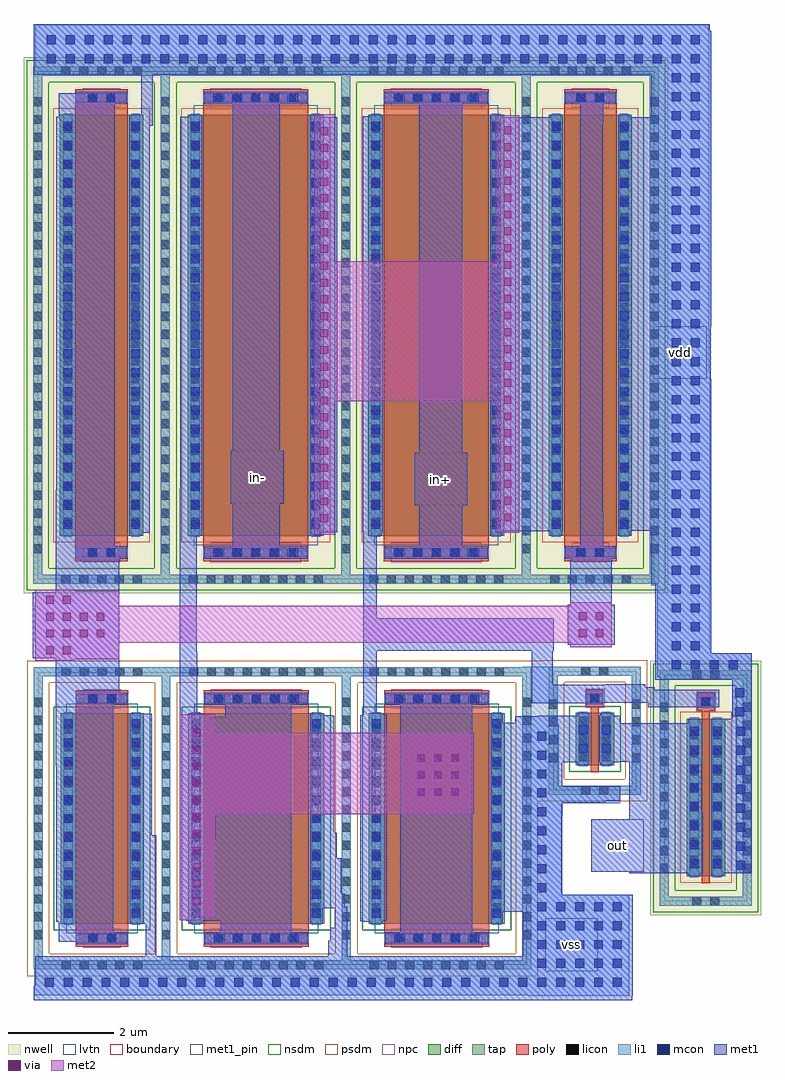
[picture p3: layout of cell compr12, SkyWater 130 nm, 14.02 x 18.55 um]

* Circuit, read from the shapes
.subckt compr12 in+ in- out vdd vss
XM1 vss n1 n1 vss sky130_fd_pr__nfet_01v8_lvt w=4 l=1
XM2 vss n2 n2 vss sky130_fd_pr__nfet_01v8_lvt w=4 l=2
XM3 vss n2 n3 vss sky130_fd_pr__nfet_01v8_lvt w=4 l=2
XM4 out n3 vss vss sky130_fd_pr__nfet_01v8 w=1 l=0.15
XM5 vdd n1 n1 vdd sky130_fd_pr__pfet_01v8 w=8 l=1
XM6 n4 in- n2 vdd sky130_fd_pr__pfet_01v8_lvt w=8 l=2
XM7 n4 in+ n3 vdd sky130_fd_pr__pfet_01v8_lvt w=8 l=2
XM8 vdd n1 n4 vdd sky130_fd_pr__pfet_01v8 w=8 l=1
XM9 vdd n3 out vdd sky130_fd_pr__pfet_01v8 w=3 l=0.15
.ends

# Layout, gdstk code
import gdstk
lib = gdstk.Library(unit=1e-6, precision=1e-09)
def R(c, l, rs):  # rectangles x0, y0, x1, y1
    for r in rs: c.add(gdstk.rectangle(r[:2], r[2:], *l))
def A(c, l, x, y, w, h, nx, ny, dx, dy):  # array of equal rectangles
    R(c, l, [(x+i*dx, y+j*dy, x+i*dx+w, y+j*dy+h) for i in range(nx) for j in range(ny)])
nwell = (64, 20)
diff = (65, 20)
tap = (65, 44)
poly = (66, 20)
licon = (66, 44)
li1 = (67, 20)
mcon = (67, 44)
met1_pin = (68, 16)
met1 = (68, 20)
via = (68, 44)
met2 = (69, 20)
nsdm = (93, 44)
psdm = (94, 20)
npc = (95, 20)
lvtn = (125, 44)
boundary = (235, 4)

sky130_fd_pr__nfet_01v8_ = lib.new_cell('sky130_fd_pr__nfet_01v8_64Z3AY')
R(sky130_fd_pr__nfet_01v8_, diff, [(-0.365,-0.655,0.365,0.345)])
R(sky130_fd_pr__nfet_01v8_, tap, [(-0.875,-1.215,0.875,-1.045), (-0.875,-1.045,-0.705,1.045), (0.705,-1.045,0.875,1.045), (-0.875,1.045,0.875,1.215)])
R(sky130_fd_pr__nfet_01v8_, poly, [(-0.075,-0.785,0.075,0.455), (-0.165,0.455,0.165,0.785)])
A(sky130_fd_pr__nfet_01v8_, licon, -0.875, -0.595, 0.17, 0.17, 1, 4, 0, 0.34)
A(sky130_fd_pr__nfet_01v8_, licon, 0.705, -0.595, 0.17, 0.17, 1, 4, 0, 0.34)
A(sky130_fd_pr__nfet_01v8_, licon, -0.305, -0.58, 0.17, 0.17, 1, 3, 0, 0.34)
A(sky130_fd_pr__nfet_01v8_, licon, 0.135, -0.58, 0.17, 0.17, 1, 3, 0, 0.34)
R(sky130_fd_pr__nfet_01v8_, licon, [(-0.255,-1.215,-0.085,-1.045), (0.085,-1.215,0.255,-1.045), (-0.085,0.535,0.085,0.705), (-0.255,1.045,-0.085,1.215), (0.085,1.045,0.255,1.215)])
R(sky130_fd_pr__nfet_01v8_, li1, [(-0.875,-1.215,0.875,-1.045), (-0.875,-1.045,-0.705,1.045), (0.705,-1.045,0.875,1.045), (-0.305,-0.675,-0.135,0.365), (0.135,-0.675,0.305,0.365), (-0.165,0.535,0.165,0.705), (-0.875,1.045,0.875,1.215)])
R(sky130_fd_pr__nfet_01v8_, mcon, [(-0.305,-0.42,-0.135,-0.25), (0.135,-0.42,0.305,-0.25), (-0.305,-0.06,-0.135,0.11), (0.135,-0.06,0.305,0.11), (-0.085,0.535,0.085,0.705)])
R(sky130_fd_pr__nfet_01v8_, met1, [(-0.335,-0.655,-0.105,0.345), (0.105,-0.655,0.335,0.345), (-0.145,0.505,0.145,0.735)])
R(sky130_fd_pr__nfet_01v8_, nsdm, [(-0.49,-0.78,0.49,0.47)])
R(sky130_fd_pr__nfet_01v8_, psdm, [(-1,-1.34,1,-0.92), (-1,-0.92,-0.58,0.92), (0.58,-0.92,1,0.92), (-1,0.92,1,1.34)])
R(sky130_fd_pr__nfet_01v8_, npc, [(-0.185,0.435,0.185,0.805)])
R(sky130_fd_pr__nfet_01v8_, boundary, [(-0.79,-1.13,0.79,1.13)])

c_sky130_fd_pr__nfet_01v8_ = lib.new_cell('sky130_fd_pr__nfet_01v8_lvt_AHMAL2')
R(c_sky130_fd_pr__nfet_01v8_, diff, [(-0.79,-2,0.79,2)])
R(c_sky130_fd_pr__nfet_01v8_, tap, [(-1.3,-2.87,1.3,-2.7), (-1.3,-2.7,-1.13,2.7), (1.13,-2.7,1.3,2.7), (-1.3,2.7,1.3,2.87)])
R(c_sky130_fd_pr__nfet_01v8_, poly, [(-0.5,-2.44,0.5,2.44)])
A(c_sky130_fd_pr__nfet_01v8_, licon, -0.765, -2.87, 0.17, 0.17, 5, 2, 0.34, 5.57)
A(c_sky130_fd_pr__nfet_01v8_, licon, -1.3, -2.295, 0.17, 0.17, 1, 14, 0, 0.34)
A(c_sky130_fd_pr__nfet_01v8_, licon, 1.13, -2.295, 0.17, 0.17, 1, 14, 0, 0.34)
A(c_sky130_fd_pr__nfet_01v8_, licon, -0.73, -1.785, 0.17, 0.17, 1, 11, 0, 0.34)
A(c_sky130_fd_pr__nfet_01v8_, licon, 0.56, -1.785, 0.17, 0.17, 1, 11, 0, 0.34)
R(c_sky130_fd_pr__nfet_01v8_, licon, [(-0.255,-2.36,-0.085,-2.19), (0.085,-2.36,0.255,-2.19), (-0.255,2.19,-0.085,2.36), (0.085,2.19,0.255,2.36)])
R(c_sky130_fd_pr__nfet_01v8_, li1, [(-1.3,-2.87,1.3,-2.7), (-1.3,-2.7,-1.13,2.7), (1.13,-2.7,1.3,2.7), (-0.5,-2.36,0.5,-2.19), (-0.73,-2.02,-0.56,2.02), (0.56,-2.02,0.73,2.02), (-0.5,2.19,0.5,2.36), (-1.3,2.7,1.3,2.87)])
A(c_sky130_fd_pr__nfet_01v8_, mcon, -0.73, -1.885, 0.17, 0.17, 1, 11, 0, 0.36)
A(c_sky130_fd_pr__nfet_01v8_, mcon, 0.56, -1.885, 0.17, 0.17, 1, 11, 0, 0.36)
R(c_sky130_fd_pr__nfet_01v8_, mcon, [(-0.265,-2.36,-0.095,-2.19), (0.095,-2.36,0.265,-2.19), (-0.265,2.19,-0.095,2.36), (0.095,2.19,0.265,2.36)])
R(c_sky130_fd_pr__nfet_01v8_, met1, [(-0.48,-2.39,0.48,-2.16), (-0.76,-2,-0.53,2), (0.53,-2,0.76,2), (-0.48,2.16,0.48,2.39)])
R(c_sky130_fd_pr__nfet_01v8_, nsdm, [(-0.915,-2.125,0.915,2.125)])
R(c_sky130_fd_pr__nfet_01v8_, psdm, [(-1.425,-2.995,1.425,-2.575), (-1.425,-2.575,-1.005,2.575), (1.005,-2.575,1.425,2.575), (-1.425,2.575,1.425,2.995)])
R(c_sky130_fd_pr__nfet_01v8_, npc, [(-0.355,-2.46,0.355,-2.09), (-0.355,2.09,0.355,2.46)])
R(c_sky130_fd_pr__nfet_01v8_, lvtn, [(-0.68,-2.18,0.68,2.18)])
R(c_sky130_fd_pr__nfet_01v8_, boundary, [(-1.21,-2.78,1.21,2.78)])

c_sky130_fd_pr__nfet_01v8__ = lib.new_cell('sky130_fd_pr__nfet_01v8_lvt_AHRV9L')
R(c_sky130_fd_pr__nfet_01v8__, diff, [(-1.29,-2,1.29,2)])
R(c_sky130_fd_pr__nfet_01v8__, tap, [(-1.8,-2.87,1.8,-2.7), (-1.8,-2.7,-1.63,2.7), (1.63,-2.7,1.8,2.7), (-1.8,2.7,1.8,2.87)])
R(c_sky130_fd_pr__nfet_01v8__, poly, [(-1,-2.44,1,2.44)])
A(c_sky130_fd_pr__nfet_01v8__, licon, -1.275, -2.87, 0.17, 0.17, 8, 2, 0.34, 5.57)
A(c_sky130_fd_pr__nfet_01v8__, licon, -0.765, -2.36, 0.17, 0.17, 5, 2, 0.34, 4.55)
A(c_sky130_fd_pr__nfet_01v8__, licon, -1.8, -2.295, 0.17, 0.17, 1, 14, 0, 0.34)
A(c_sky130_fd_pr__nfet_01v8__, licon, 1.63, -2.295, 0.17, 0.17, 1, 14, 0, 0.34)
A(c_sky130_fd_pr__nfet_01v8__, licon, -1.23, -1.785, 0.17, 0.17, 1, 11, 0, 0.34)
A(c_sky130_fd_pr__nfet_01v8__, licon, 1.06, -1.785, 0.17, 0.17, 1, 11, 0, 0.34)
R(c_sky130_fd_pr__nfet_01v8__, li1, [(-1.8,-2.87,1.8,-2.7), (-1.8,-2.7,-1.63,2.7), (1.63,-2.7,1.8,2.7), (-1,-2.36,1,-2.19), (-1.23,-2.02,-1.06,2.02), (1.06,-2.02,1.23,2.02), (-1,2.19,1,2.36), (-1.8,2.7,1.8,2.87)])
A(c_sky130_fd_pr__nfet_01v8__, mcon, -0.805, -2.36, 0.17, 0.17, 5, 2, 0.36, 4.55)
A(c_sky130_fd_pr__nfet_01v8__, mcon, -1.23, -1.885, 0.17, 0.17, 1, 11, 0, 0.36)
A(c_sky130_fd_pr__nfet_01v8__, mcon, 1.06, -1.885, 0.17, 0.17, 1, 11, 0, 0.36)
R(c_sky130_fd_pr__nfet_01v8__, met1, [(-0.98,-2.39,0.98,-2.16), (-1.26,-2,-1.03,2), (1.03,-2,1.26,2), (-0.98,2.16,0.98,2.39)])
R(c_sky130_fd_pr__nfet_01v8__, nsdm, [(-1.415,-2.125,1.415,2.125)])
R(c_sky130_fd_pr__nfet_01v8__, psdm, [(-1.925,-2.995,1.925,-2.575), (-1.925,-2.575,-1.505,2.575), (1.505,-2.575,1.925,2.575), (-1.925,2.575,1.925,2.995)])
R(c_sky130_fd_pr__nfet_01v8__, npc, [(-0.865,-2.46,0.865,-2.09), (-0.865,2.09,0.865,2.46)])
R(c_sky130_fd_pr__nfet_01v8__, lvtn, [(-1.18,-2.18,1.18,2.18)])
R(c_sky130_fd_pr__nfet_01v8__, boundary, [(-1.71,-2.78,1.71,2.78)])

sky130_fd_pr__pfet_01v8_ = lib.new_cell('sky130_fd_pr__pfet_01v8_3H2EVM')
R(sky130_fd_pr__pfet_01v8_, nwell, [(-1.48,-5.095,1.48,5.095)])
R(sky130_fd_pr__pfet_01v8_, diff, [(-0.79,-4,0.79,4)])
R(sky130_fd_pr__pfet_01v8_, tap, [(-1.3,-4.915,1.3,-4.745), (-1.3,-4.745,-1.13,4.745), (1.13,-4.745,1.3,4.745), (-1.3,4.745,1.3,4.915)])
R(sky130_fd_pr__pfet_01v8_, poly, [(-0.5,-4.485,0.5,4.485)])
A(sky130_fd_pr__pfet_01v8_, licon, -0.765, -4.915, 0.17, 0.17, 5, 2, 0.34, 9.66)
A(sky130_fd_pr__pfet_01v8_, licon, -1.3, -4.335, 0.17, 0.17, 1, 26, 0, 0.34)
A(sky130_fd_pr__pfet_01v8_, licon, 1.13, -4.335, 0.17, 0.17, 1, 26, 0, 0.34)
A(sky130_fd_pr__pfet_01v8_, licon, -0.73, -3.825, 0.17, 0.17, 1, 23, 0, 0.34)
A(sky130_fd_pr__pfet_01v8_, licon, 0.56, -3.825, 0.17, 0.17, 1, 23, 0, 0.34)
R(sky130_fd_pr__pfet_01v8_, licon, [(-0.255,-4.405,-0.085,-4.235), (0.085,-4.405,0.255,-4.235), (-0.255,4.235,-0.085,4.405), (0.085,4.235,0.255,4.405)])
R(sky130_fd_pr__pfet_01v8_, li1, [(-1.3,-4.915,1.3,-4.745), (-1.3,-4.745,-1.13,4.745), (1.13,-4.745,1.3,4.745), (-0.5,-4.405,0.5,-4.235), (-0.73,-4.02,-0.56,4.02), (0.56,-4.02,0.73,4.02), (-0.5,4.235,0.5,4.405), (-1.3,4.745,1.3,4.915)])
A(sky130_fd_pr__pfet_01v8_, mcon, -0.73, -3.865, 0.17, 0.17, 1, 22, 0, 0.36)
A(sky130_fd_pr__pfet_01v8_, mcon, 0.56, -3.865, 0.17, 0.17, 1, 22, 0, 0.36)
R(sky130_fd_pr__pfet_01v8_, mcon, [(-0.265,-4.405,-0.095,-4.235), (0.095,-4.405,0.265,-4.235), (-0.265,4.235,-0.095,4.405), (0.095,4.235,0.265,4.405)])
R(sky130_fd_pr__pfet_01v8_, met1, [(-0.48,-4.435,0.48,-4.205), (-0.76,-4,-0.53,4), (0.53,-4,0.76,4), (-0.48,4.205,0.48,4.435)])
R(sky130_fd_pr__pfet_01v8_, nsdm, [(-1.425,-5.04,1.425,-4.62), (-1.425,-4.62,-1.005,4.62), (1.005,-4.62,1.425,4.62), (-1.425,4.62,1.425,5.04)])
R(sky130_fd_pr__pfet_01v8_, psdm, [(-0.915,-4.125,0.915,4.125)])
R(sky130_fd_pr__pfet_01v8_, npc, [(-0.355,-4.505,0.355,-4.135), (-0.355,4.135,0.355,4.505)])
R(sky130_fd_pr__pfet_01v8_, boundary, [(-1.215,-4.83,1.215,4.83)])

c_sky130_fd_pr__pfet_01v8_ = lib.new_cell('sky130_fd_pr__pfet_01v8_lvt_GWPMZG')
R(c_sky130_fd_pr__pfet_01v8_, nwell, [(-1.98,-5.095,1.98,5.095)])
R(c_sky130_fd_pr__pfet_01v8_, diff, [(-1.29,-4,1.29,4)])
R(c_sky130_fd_pr__pfet_01v8_, tap, [(-1.8,-4.915,1.8,-4.745), (-1.8,-4.745,-1.63,4.745), (1.63,-4.745,1.8,4.745), (-1.8,4.745,1.8,4.915)])
R(c_sky130_fd_pr__pfet_01v8_, poly, [(-1,-4.485,1,4.485)])
A(c_sky130_fd_pr__pfet_01v8_, licon, -1.275, -4.915, 0.17, 0.17, 8, 2, 0.34, 9.66)
A(c_sky130_fd_pr__pfet_01v8_, licon, -0.765, -4.405, 0.17, 0.17, 5, 2, 0.34, 8.64)
A(c_sky130_fd_pr__pfet_01v8_, licon, -1.8, -4.335, 0.17, 0.17, 1, 26, 0, 0.34)
A(c_sky130_fd_pr__pfet_01v8_, licon, 1.63, -4.335, 0.17, 0.17, 1, 26, 0, 0.34)
A(c_sky130_fd_pr__pfet_01v8_, licon, -1.23, -3.825, 0.17, 0.17, 1, 23, 0, 0.34)
A(c_sky130_fd_pr__pfet_01v8_, licon, 1.06, -3.825, 0.17, 0.17, 1, 23, 0, 0.34)
R(c_sky130_fd_pr__pfet_01v8_, li1, [(-1.8,-4.915,1.8,-4.745), (-1.8,-4.745,-1.63,4.745), (1.63,-4.745,1.8,4.745), (-1,-4.405,1,-4.235), (-1.23,-4.02,-1.06,4.02), (1.06,-4.02,1.23,4.02), (-1,4.235,1,4.405), (-1.8,4.745,1.8,4.915)])
A(c_sky130_fd_pr__pfet_01v8_, mcon, -0.805, -4.405, 0.17, 0.17, 5, 2, 0.36, 8.64)
A(c_sky130_fd_pr__pfet_01v8_, mcon, -1.23, -3.865, 0.17, 0.17, 1, 22, 0, 0.36)
A(c_sky130_fd_pr__pfet_01v8_, mcon, 1.06, -3.865, 0.17, 0.17, 1, 22, 0, 0.36)
R(c_sky130_fd_pr__pfet_01v8_, met1, [(-0.98,-4.435,0.98,-4.205), (-1.26,-4,-1.03,4), (1.03,-4,1.26,4), (-0.98,4.205,0.98,4.435)])
R(c_sky130_fd_pr__pfet_01v8_, nsdm, [(-1.925,-5.04,1.925,-4.62), (-1.925,-4.62,-1.505,4.62), (1.505,-4.62,1.925,4.62), (-1.925,4.62,1.925,5.04)])
R(c_sky130_fd_pr__pfet_01v8_, psdm, [(-1.415,-4.125,1.415,4.125)])
R(c_sky130_fd_pr__pfet_01v8_, npc, [(-0.865,-4.505,0.865,-4.135), (-0.865,4.135,0.865,4.505)])
R(c_sky130_fd_pr__pfet_01v8_, lvtn, [(-1.18,-4.18,1.18,4.18)])
R(c_sky130_fd_pr__pfet_01v8_, boundary, [(-1.715,-4.83,1.715,4.83)])

c_sky130_fd_pr__pfet_01v8__ = lib.new_cell('sky130_fd_pr__pfet_01v8_MGSNAN')
R(c_sky130_fd_pr__pfet_01v8__, nwell, [(-1.055,-2.42,1.055,2.42)])
R(c_sky130_fd_pr__pfet_01v8__, diff, [(-0.365,-1.68,0.365,1.32)])
R(c_sky130_fd_pr__pfet_01v8__, tap, [(-0.875,-2.24,0.875,-2.07), (-0.875,-2.07,-0.705,2.07), (0.705,-2.07,0.875,2.07), (-0.875,2.07,0.875,2.24)])
R(c_sky130_fd_pr__pfet_01v8__, poly, [(-0.075,-1.81,0.075,1.475), (-0.165,1.475,0.165,1.805)])
A(c_sky130_fd_pr__pfet_01v8__, licon, -0.875, -1.615, 0.17, 0.17, 1, 10, 0, 0.34)
A(c_sky130_fd_pr__pfet_01v8__, licon, 0.705, -1.615, 0.17, 0.17, 1, 10, 0, 0.34)
A(c_sky130_fd_pr__pfet_01v8__, licon, -0.305, -1.455, 0.17, 0.17, 1, 8, 0, 0.34)
A(c_sky130_fd_pr__pfet_01v8__, licon, 0.135, -1.455, 0.17, 0.17, 1, 8, 0, 0.34)
R(c_sky130_fd_pr__pfet_01v8__, licon, [(-0.255,-2.24,-0.085,-2.07), (0.085,-2.24,0.255,-2.07), (-0.085,1.555,0.085,1.725), (-0.255,2.07,-0.085,2.24), (0.085,2.07,0.255,2.24)])
R(c_sky130_fd_pr__pfet_01v8__, li1, [(-0.875,-2.24,0.875,-2.07), (-0.875,-2.07,-0.705,2.07), (0.705,-2.07,0.875,2.07), (-0.305,-1.7,-0.135,1.34), (0.135,-1.7,0.305,1.34), (-0.165,1.555,0.165,1.725), (-0.875,2.07,0.875,2.24)])
A(c_sky130_fd_pr__pfet_01v8__, mcon, -0.305, -1.525, 0.17, 0.17, 1, 8, 0, 0.36)
A(c_sky130_fd_pr__pfet_01v8__, mcon, 0.135, -1.525, 0.17, 0.17, 1, 8, 0, 0.36)
R(c_sky130_fd_pr__pfet_01v8__, mcon, [(-0.085,1.555,0.085,1.725)])
R(c_sky130_fd_pr__pfet_01v8__, met1, [(-0.335,-1.68,-0.105,1.32), (0.105,-1.68,0.335,1.32), (-0.145,1.525,0.145,1.755)])
R(c_sky130_fd_pr__pfet_01v8__, nsdm, [(-1,-2.365,1,-1.945), (-1,-1.945,-0.58,1.945), (0.58,-1.945,1,1.945), (-1,1.945,1,2.365)])
R(c_sky130_fd_pr__pfet_01v8__, psdm, [(-0.49,-1.805,0.49,1.445)])
R(c_sky130_fd_pr__pfet_01v8__, npc, [(-0.185,1.455,0.185,1.825)])
R(c_sky130_fd_pr__pfet_01v8__, boundary, [(-0.79,-2.155,0.79,2.155)])

compr12 = lib.new_cell('compr12')
R(compr12, li1, [(15.74,-1.91,17.66,-1.9), (6.35,-1.9,17.66,-1.23), (15.67,-1.23,17.66,0.01), (15.67,0.01,16.39,1.42), (19.25,0.42,19.42,3.37), (19.68,0.42,19.99,3.39), (15.64,1.42,16.39,1.52), (15.64,1.52,16.4,1.75), (15.64,1.75,17.49,2.07), (15.64,2.07,16.32,3.26), (15.64,3.26,16.26,4.34), (19.62,3.39,19.99,4.1), (18.34,4.1,19.99,4.14), (18.19,4.14,19.99,4.6), (18.19,4.6,19.21,4.67), (18.19,4.67,19.19,5.89), (18.08,5.89,19.2,9.98), (18.08,9.98,19.18,15.6), (6.37,15.6,19.18,16.44), (6.37,16.44,19.17,16.55)])
A(compr12, mcon, 6.55, -1.74, 0.17, 0.17, 31, 1, 0.36, 0)
A(compr12, mcon, 15.91, -1.38, 0.17, 0.17, 5, 4, 0.36, 0.36)
A(compr12, mcon, 15.91, 0.06, 0.17, 0.17, 1, 9, 0, 0.36)
A(compr12, mcon, 19.695, 0.49, 0.17, 0.17, 1, 6, 0, 0.36)
A(compr12, mcon, 18.47, 4.295, 0.17, 0.17, 4, 1, 0.36, 0)
A(compr12, mcon, 18.47, 4.655, 0.17, 0.17, 1, 31, 0, 0.36)
A(compr12, mcon, 18.83, 4.655, 0.17, 0.17, 1, 31, 0, 0.36)
A(compr12, mcon, 6.59, 15.815, 0.17, 0.17, 35, 2, 0.36, 0.36)
R(compr12, mcon, [(19.69,2.67,19.86,2.84), (19.69,3.03,19.86,3.2), (19.675,3.405,19.845,3.575), (19.675,3.765,19.845,3.935)])
R(compr12, met1_pin, [(16.06,-1.44,17.06,-0.44), (16.94,0.45,17.94,1.45), (13.58,7.41,14.58,8.41), (10.09,7.45,11.09,8.45), (18.13,9.82,19.13,10.82)])
R(compr12, met1, [(6.34,-1.99,17.72,-1.91), (6.34,-1.91,17.73,-1.73), (6.37,-1.73,17.73,-1.16), (8.47,-1.16,8.67,-0.54), (11.94,-1.16,12.3,-0.86), (15.64,-1.16,17.73,-0.31), (6.82,-0.88,7.85,-0.5), (9.9,-0.88,11.24,-0.48), (13.31,-0.88,14.68,3.82), (11.98,-0.86,12.3,-0.62), (12.06,-0.62,12.3,-0.25), (8.24,-0.54,8.67,-0.51), (8.2,-0.51,8.67,1.14), (6.77,-0.5,7.85,2.45), (11.65,-0.5,11.8,-0.25), (12.61,-0.5,12.92,-0.49), (12.55,-0.49,12.95,-0.48), (9.24,-0.48,11.24,-0.47), (12.55,-0.48,13.05,3.42), (9.12,-0.47,11.24,3.39), (15.09,-0.47,15.16,-0.31), (15.09,-0.31,17.73,0.01), (11.65,-0.25,12.3,-0.23), (11.62,-0.23,12.3,-0.22), (11.62,-0.22,12.25,0.03), (15.09,0.01,16.38,1.76), (11.62,0.03,12.19,0.7), (18.83,0.41,19.06,0.42), (17.66,0.42,19.06,0.45), (19.28,0.42,19.99,0.43), (19.25,0.43,19.99,3.31), (16.94,0.45,19.06,1.45), (11.62,0.7,12.1,1.19), (8.2,1.14,8.58,3.45), (11.62,1.19,12.05,3.41), (17.66,1.45,19.06,1.58), (17.66,1.58,19.04,2.54), (15.09,1.76,17.2,1.8), (15.09,1.8,17.49,2.07), (15.09,2.07,16.39,2.53), (6.76,2.45,7.85,3.66), (15.09,2.53,16.82,3.28), (17.09,2.53,17.49,2.54), (17.09,2.54,19.05,3.27), (17.09,3.27,17.49,3.41), (15.09,3.28,15.17,3.39), (15.49,3.28,16.82,3.4), (19.37,3.31,19.99,3.36), (19.62,3.36,19.99,4.1), (9.12,3.39,9.63,3.44), (9.98,3.39,11.24,3.65), (15.92,3.4,16.82,3.41), (11.62,3.41,12.01,3.42), (12.6,3.42,13.05,3.43), (12.6,3.43,12.92,3.46), (9.12,3.44,9.45,4.62), (12.6,3.46,12.86,4.65), (18.02,3.57,19.37,3.66), (9.9,3.65,11.24,3.82), (15.81,3.65,17.12,3.66), (6.76,3.66,7.97,4.51), (15.81,3.66,19.37,3.91), (15.81,3.91,18.14,3.95), (15.81,3.95,17.96,4), (15.81,4,16.21,4.65), (17.21,4,17.96,4.01), (18.15,4.1,19.99,4.6), (6.32,4.51,7.97,5.76), (18.15,4.6,19.22,5.92), (9.12,4.62,9.44,6.92), (12.6,4.65,16.22,5.27), (16.49,4.76,17.38,5.52), (12.6,5.27,12.86,6.89), (16.54,5.52,17.33,6.62), (6.76,5.76,7.97,6.61), (18.08,5.92,19.22,6.93), (13.67,6.45,14.49,7.41), (10.12,6.46,11.02,7.44), (6.76,6.61,7.88,7.69), (16.73,6.62,17.17,7.3), (8.24,6.89,8.55,14.63), (12.59,6.89,12.97,14.81), (11.62,6.9,12.11,14.79), (9.12,6.92,9.54,7.74), (15.06,6.92,16.4,14.79), (17.5,6.93,19.22,9.81), (16.73,7.3,17.16,14.67), (13.58,7.41,14.58,8.41), (10.09,7.44,11.09,8.45), (6.77,7.69,7.88,14.8), (9.13,7.74,9.54,14.8), (13.67,8.41,14.49,15.27), (10.12,8.45,11.02,15.25), (17.5,9.81,19.21,10.81), (17.5,10.81,19.22,14.79), (8.24,14.63,8.6,14.78), (16.73,14.67,17.17,15.23), (8.38,14.78,8.6,15.6), (18.08,14.79,19.22,15.6), (6.82,14.8,7.88,15.24), (9.34,14.8,9.54,14.81), (16.75,15.23,17.17,15.26), (7.41,15.24,7.88,15.26), (6.34,15.6,19.22,16.43), (6.34,16.43,19.19,16.56)])
A(compr12, via, 9.365, -0.185, 0.15, 0.15, 1, 11, 0, 0.32)
A(compr12, via, 13.625, 1.89, 0.15, 0.15, 3, 3, 0.32, 0.32)
A(compr12, via, 6.575, 4.9, 0.15, 0.15, 4, 2, 0.32, 0.32)
A(compr12, via, 11.79, 7.09, 0.15, 0.15, 1, 24, 0, 0.32)
A(compr12, via, 15.27, 7.105, 0.15, 0.15, 1, 24, 0, 0.32)
R(compr12, via, [(6.575,4.58,6.725,4.73), (6.895,4.58,7.045,4.73), (16.7,4.905,16.85,5.055), (17.02,4.905,17.17,5.055), (16.7,5.225,16.85,5.375), (17.02,5.225,17.17,5.375), (6.575,5.54,6.725,5.69), (6.895,5.54,7.045,5.69)])
R(compr12, met2, [(9.12,-0.47,9.52,-0.44), (9.12,-0.44,9.79,1.06), (9.12,1.06,9.8,1.54), (9.12,1.54,14.7,3.09), (9.12,3.09,9.79,3.44), (6.37,4.46,7.11,4.49), (6.37,4.49,7.97,4.8), (16.54,4.71,17.33,4.8), (6.36,4.8,17.33,5.5), (6.37,5.5,7.97,5.79), (16.54,5.5,17.33,5.57), (6.37,5.79,7.11,5.81), (11.67,6.85,12.06,9.39), (15.12,6.89,15.57,9.39), (11.67,9.39,15.57,12.05), (11.67,12.05,12.06,14.84), (15.12,12.05,15.57,14.83)])
R(compr12, psdm, [(15.925,1.785,16.005,4.455)])
compr12.add(gdstk.Reference(sky130_fd_pr__nfet_01v8_, (17.005,3.125)))
compr12.add(gdstk.Reference(c_sky130_fd_pr__nfet_01v8_, (7.64,1.46)))
compr12.add(gdstk.Reference(c_sky130_fd_pr__nfet_01v8__, (10.57,1.46)))
compr12.add(gdstk.Reference(c_sky130_fd_pr__nfet_01v8__, (14,1.46)))
compr12.add(gdstk.Reference(sky130_fd_pr__pfet_01v8_, (7.63,10.835)))
compr12.add(gdstk.Reference(sky130_fd_pr__pfet_01v8_, (16.92,10.835)))
compr12.add(gdstk.Reference(c_sky130_fd_pr__pfet_01v8_, (10.56,10.835)))
compr12.add(gdstk.Reference(c_sky130_fd_pr__pfet_01v8_, (13.99,10.835)))
compr12.add(gdstk.Reference(c_sky130_fd_pr__pfet_01v8__, (19.115,2.04)))
compr12.add(gdstk.Label('out', (17.44,0.95), layer=68, texttype=5))
compr12.add(gdstk.Label('vdd', (18.63,10.32), layer=68, texttype=5))
compr12.add(gdstk.Label('in+', (14.08,7.91), layer=68, texttype=5))
compr12.add(gdstk.Label('in-', (10.59,7.95), layer=68, texttype=5))
compr12.add(gdstk.Label('vss', (16.56,-0.94), layer=68, texttype=5))

lib.write_gds('compr12.gds')
